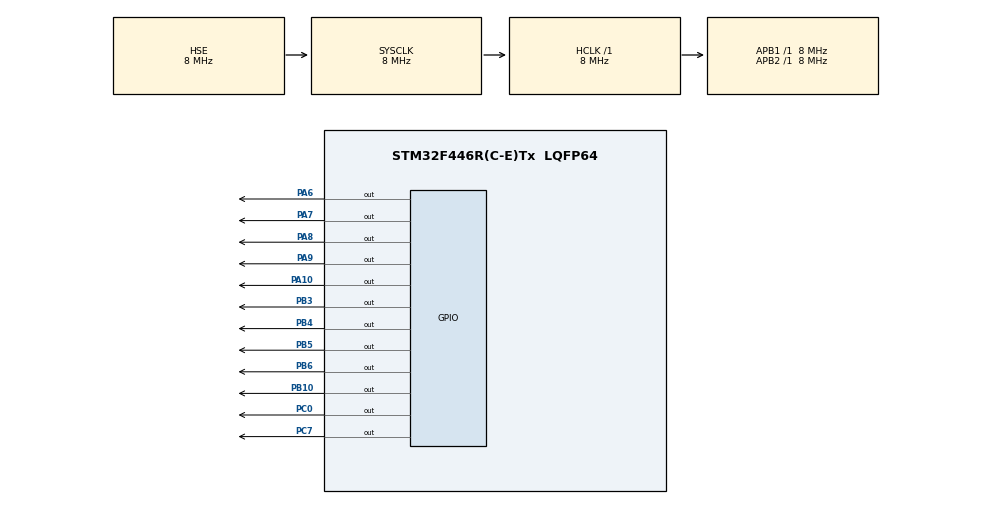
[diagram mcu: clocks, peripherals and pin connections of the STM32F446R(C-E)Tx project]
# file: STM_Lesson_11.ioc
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Mcu.Family=STM32F4
Mcu.Name=STM32F446R(C-E)Tx
Mcu.Package=LQFP64
NVIC.PriorityGroup=NVIC_PRIORITYGROUP_4
NVIC.TIM6_DAC_IRQn=true\:0\:0\:false\:false\:true\:true\:true\:true
PA10.GPIO_PuPd=GPIO_NOPULL
PA10.Signal=GPIO_Output
PA6.GPIO_PuPd=GPIO_PULLUP
PA6.PinState=GPIO_PIN_SET
PA6.Signal=GPIO_Output
PA7.GPIO_PuPd=GPIO_PULLUP
PA7.PinState=GPIO_PIN_SET
PA7.Signal=GPIO_Output
PA8.GPIO_PuPd=GPIO_NOPULL
PA8.Signal=GPIO_Output
PA9.GPIO_PuPd=GPIO_NOPULL
PA9.Signal=GPIO_Output
PB10.GPIO_PuPd=GPIO_NOPULL
PB10.Signal=GPIO_Output
PB3.GPIO_PuPd=GPIO_NOPULL
PB3.Signal=GPIO_Output
PB4.GPIO_PuPd=GPIO_NOPULL
PB4.Signal=GPIO_Output
PB5.GPIO_PuPd=GPIO_NOPULL
PB5.Signal=GPIO_Output
PB6.GPIO_PuPd=GPIO_PULLUP
PB6.PinState=GPIO_PIN_SET
PB6.Signal=GPIO_Output
PC0.PinState=GPIO_PIN_RESET
PC0.Signal=GPIO_Output
PC7.GPIO_PuPd=GPIO_PULLUP
PC7.PinState=GPIO_PIN_SET
PC7.Signal=GPIO_Output
PH0-OSC_IN.Mode=HSE-External-Clock-Source
PH0-OSC_IN.Signal=RCC_OSC_IN
PH1-OSC_OUT.Mode=HSE-External-Clock-Source
PH1-OSC_OUT.Signal=RCC_OSC_OUT
ProjectManager.HeapSize=0x200
ProjectManager.StackSize=0x400
ProjectManager.TargetToolchain=STM32CubeIDE
RCC.AHBFreq_Value=8000000
RCC.APB1Freq_Value=8000000
RCC.APB1TimFreq_Value=8000000
RCC.APB2Freq_Value=8000000
RCC.APB2TimFreq_Value=8000000
RCC.CortexFreq_Value=8000000
RCC.HCLKFreq_Value=8000000
RCC.HSE_VALUE=8000000
RCC.SYSCLKFreq_VALUE=8000000
RCC.SYSCLKSource=RCC_SYSCLKSOURCE_HSE
RCC.USBFreq_Value=96000000
RCC.VCOOutputFreq_Value=192000000
TIM6.Period=30
TIM6.Prescaler=999
VP_TIM6_VS_ClockSourceINT.Mode=Enable_Timer
board=custom

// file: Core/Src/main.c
/* USER CODE BEGIN Header */
/**
  ******************************************************************************
  * @file           : main.c
  * @brief          : Main program body
  ******************************************************************************
  * @attention
  *
  * Copyright (c) 2024 STMicroelectronics.
  * All rights reserved.
  *
  * This software is licensed under terms that can be found in the LICENSE file
  * in the root directory of this software component.
  * If no LICENSE file comes with this software, it is provided AS-IS.
  *
  ******************************************************************************
  */
/* USER CODE END Header */
#include "main.h"

/* USER CODE BEGIN Includes */
#include "math.h"
/* USER CODE END Includes */

/* USER CODE BEGIN PD */
#define SEG_A_0 HAL_GPIO_WritePin(GPIOA, GPIO_PIN_10, 0)
#define SEG_A_1 HAL_GPIO_WritePin(GPIOA, GPIO_PIN_10, 1)
#define SEG_B_0 HAL_GPIO_WritePin(GPIOB, GPIO_PIN_3, 0)
#define SEG_B_1 HAL_GPIO_WritePin(GPIOB, GPIO_PIN_3, 1)
#define SEG_C_0 HAL_GPIO_WritePin(GPIOB, GPIO_PIN_5, 0)
#define SEG_C_1 HAL_GPIO_WritePin(GPIOB, GPIO_PIN_5, 1)
#define SEG_D_0 HAL_GPIO_WritePin(GPIOB, GPIO_PIN_4, 0)
#define SEG_D_1 HAL_GPIO_WritePin(GPIOB, GPIO_PIN_4, 1)
#define SEG_E_0 HAL_GPIO_WritePin(GPIOB, GPIO_PIN_10, 0)
#define SEG_E_1 HAL_GPIO_WritePin(GPIOB, GPIO_PIN_10, 1)
#define SEG_F_0 HAL_GPIO_WritePin(GPIOA, GPIO_PIN_8, 0)
#define SEG_F_1 HAL_GPIO_WritePin(GPIOA, GPIO_PIN_8, 1)
#define SEG_G_0 HAL_GPIO_WritePin(GPIOA, GPIO_PIN_9, 0)
#define SEG_G_1 HAL_GPIO_WritePin(GPIOA, GPIO_PIN_9, 1)

#define RAZR_1_OFF  HAL_GPIO_WritePin(GPIOC, GPIO_PIN_7, 1)
#define RAZR_1_ON   HAL_GPIO_WritePin(GPIOC, GPIO_PIN_7, 0)
#define RAZR_2_OFF  HAL_GPIO_WritePin(GPIOB, GPIO_PIN_6, 1)
#define RAZR_2_ON   HAL_GPIO_WritePin(GPIOB, GPIO_PIN_6, 0)
#define RAZR_3_OFF  HAL_GPIO_WritePin(GPIOA, GPIO_PIN_7, 1)
#define RAZR_3_ON   HAL_GPIO_WritePin(GPIOA, GPIO_PIN_7, 0)
#define RAZR_4_OFF  HAL_GPIO_WritePin(GPIOA, GPIO_PIN_6, 1)
#define RAZR_4_ON   HAL_GPIO_WritePin(GPIOA, GPIO_PIN_6, 0)

#define TIME_DELAY 1000

volatile uint8_t count = 0;
int num_4, num_3, num_2, num_1 = 0;
float numberToShow = 0;

/* USER CODE END PD */

TIM_HandleTypeDef htim6;

void SystemClock_Config(void);
static void MX_GPIO_Init(void);
static void MX_TIM6_Init(void);
/* USER CODE BEGIN PFP */
void showNumber(int num);
void showFullNumber(int num);
void showFloatNumber(float num);

void HAL_TIM_PeriodElapsedCallback(TIM_HandleTypeDef * htim)
{

	if (++count > 4) count = 1;

	if(count == 4)
	{
		showNumber(num_4);
		RAZR_1_OFF;
		RAZR_2_OFF;
		RAZR_3_OFF;
		RAZR_4_ON;

	}

	if(count == 3)
	{
		showNumber(num_3);
		RAZR_1_OFF;
		RAZR_2_OFF;
		RAZR_3_ON;
		RAZR_4_OFF;
	}
	if(count == 2)
	{
		showNumber(num_2);
		RAZR_1_OFF;
		RAZR_2_ON;
		RAZR_3_OFF;
		RAZR_4_OFF;
	}
	if(count == 1)
	{
		showNumber(num_1);
		RAZR_1_ON;
		RAZR_2_OFF;
		RAZR_3_OFF;
		RAZR_4_OFF;
	}
//		HAL_GPIO_TogglePin(GPIOC, GPIO_PIN_0);

}
/* USER CODE END PFP */

int main(void)
{

  /* MCU Configuration--------------------------------------------------------*/

  /* Reset of all peripherals, Initializes the Flash interface and the Systick. */
  HAL_Init();

  /* Configure the system clock */
  SystemClock_Config();

  /* Initialize all configured peripherals */
  MX_GPIO_Init();
  MX_TIM6_Init();
  /* USER CODE BEGIN 2 */
 HAL_TIM_Base_Start_IT(&htim6);
//  showNumber(1);

//  RAZR_3_ON;
  /* USER CODE END 2 */

  /* Infinite loop */
  /* USER CODE BEGIN WHILE */
  while (1)
  {
	  numberToShow = -0.899;
	  showFloatNumber(numberToShow);

    /* USER CODE END WHILE */

  }
}

void SystemClock_Config(void)
{
  RCC_OscInitTypeDef RCC_OscInitStruct = {0};
  RCC_ClkInitTypeDef RCC_ClkInitStruct = {0};

  /** Configure the main internal regulator output voltage
  */
  __HAL_RCC_PWR_CLK_ENABLE();
  __HAL_PWR_VOLTAGESCALING_CONFIG(PWR_REGULATOR_VOLTAGE_SCALE3);

  /** Initializes the RCC Oscillators according to the specified parameters
  * in the RCC_OscInitTypeDef structure.
  */
  RCC_OscInitStruct.OscillatorType = RCC_OSCILLATORTYPE_HSE;
  RCC_OscInitStruct.HSEState = RCC_HSE_BYPASS;
  RCC_OscInitStruct.PLL.PLLState = RCC_PLL_NONE;
  if (HAL_RCC_OscConfig(&RCC_OscInitStruct) != HAL_OK)
  {
    Error_Handler();
  }

  /** Initializes the CPU, AHB and APB buses clocks
  */
  RCC_ClkInitStruct.ClockType = RCC_CLOCKTYPE_HCLK|RCC_CLOCKTYPE_SYSCLK
                              |RCC_CLOCKTYPE_PCLK1|RCC_CLOCKTYPE_PCLK2;
  RCC_ClkInitStruct.SYSCLKSource = RCC_SYSCLKSOURCE_HSE;
  RCC_ClkInitStruct.AHBCLKDivider = RCC_SYSCLK_DIV1;
  RCC_ClkInitStruct.APB1CLKDivider = RCC_HCLK_DIV1;
  RCC_ClkInitStruct.APB2CLKDivider = RCC_HCLK_DIV1;

  if (HAL_RCC_ClockConfig(&RCC_ClkInitStruct, FLASH_LATENCY_0) != HAL_OK)
  {
    Error_Handler();
  }
}

static void MX_TIM6_Init(void)
{

  TIM_MasterConfigTypeDef sMasterConfig = {0};

  htim6.Instance = TIM6;
  htim6.Init.Prescaler = 999;
  htim6.Init.CounterMode = TIM_COUNTERMODE_UP;
  htim6.Init.Period = 30;
  htim6.Init.AutoReloadPreload = TIM_AUTORELOAD_PRELOAD_DISABLE;
  if (HAL_TIM_Base_Init(&htim6) != HAL_OK)
  {
    Error_Handler();
  }
  sMasterConfig.MasterOutputTrigger = TIM_TRGO_RESET;
  sMasterConfig.MasterSlaveMode = TIM_MASTERSLAVEMODE_DISABLE;
  if (HAL_TIMEx_MasterConfigSynchronization(&htim6, &sMasterConfig) != HAL_OK)
  {
    Error_Handler();
  }

}

static void MX_GPIO_Init(void)
{
  GPIO_InitTypeDef GPIO_InitStruct = {0};

  /* GPIO Ports Clock Enable */
  __HAL_RCC_GPIOH_CLK_ENABLE();
  __HAL_RCC_GPIOC_CLK_ENABLE();
  __HAL_RCC_GPIOA_CLK_ENABLE();
  __HAL_RCC_GPIOB_CLK_ENABLE();

  /*Configure GPIO pin Output Level */
  HAL_GPIO_WritePin(GPIOC, GPIO_PIN_0, GPIO_PIN_RESET);

  /*Configure GPIO pin Output Level */
  HAL_GPIO_WritePin(GPIOA, GPIO_PIN_6|GPIO_PIN_7, GPIO_PIN_SET);

  /*Configure GPIO pin Output Level */
  HAL_GPIO_WritePin(GPIOB, GPIO_PIN_10|GPIO_PIN_3|GPIO_PIN_4|GPIO_PIN_5, GPIO_PIN_RESET);

  /*Configure GPIO pin Output Level */
  HAL_GPIO_WritePin(GPIOC, GPIO_PIN_7, GPIO_PIN_SET);

  /*Configure GPIO pin Output Level */
  HAL_GPIO_WritePin(GPIOA, GPIO_PIN_8|GPIO_PIN_9|GPIO_PIN_10, GPIO_PIN_RESET);

  /*Configure GPIO pin Output Level */
  HAL_GPIO_WritePin(GPIOB, GPIO_PIN_6, GPIO_PIN_SET);

  /*Configure GPIO pin : PC0 */
  GPIO_InitStruct.Pin = GPIO_PIN_0;
  GPIO_InitStruct.Mode = GPIO_MODE_OUTPUT_PP;
  GPIO_InitStruct.Pull = GPIO_NOPULL;
  GPIO_InitStruct.Speed = GPIO_SPEED_FREQ_LOW;
  HAL_GPIO_Init(GPIOC, &GPIO_InitStruct);

  /*Configure GPIO pins : PA6 PA7 */
  GPIO_InitStruct.Pin = GPIO_PIN_6|GPIO_PIN_7;
  GPIO_InitStruct.Mode = GPIO_MODE_OUTPUT_PP;
  GPIO_InitStruct.Pull = GPIO_PULLUP;
  GPIO_InitStruct.Speed = GPIO_SPEED_FREQ_LOW;
  HAL_GPIO_Init(GPIOA, &GPIO_InitStruct);

  /*Configure GPIO pins : PB10 PB3 PB4 PB5 */
  GPIO_InitStruct.Pin = GPIO_PIN_10|GPIO_PIN_3|GPIO_PIN_4|GPIO_PIN_5;
  GPIO_InitStruct.Mode = GPIO_MODE_OUTPUT_PP;
  GPIO_InitStruct.Pull = GPIO_NOPULL;
  GPIO_InitStruct.Speed = GPIO_SPEED_FREQ_LOW;
  HAL_GPIO_Init(GPIOB, &GPIO_InitStruct);

  /*Configure GPIO pin : PC7 */
  GPIO_InitStruct.Pin = GPIO_PIN_7;
  GPIO_InitStruct.Mode = GPIO_MODE_OUTPUT_PP;
  GPIO_InitStruct.Pull = GPIO_PULLUP;
  GPIO_InitStruct.Speed = GPIO_SPEED_FREQ_LOW;
  HAL_GPIO_Init(GPIOC, &GPIO_InitStruct);

  /*Configure GPIO pins : PA8 PA9 PA10 */
  GPIO_InitStruct.Pin = GPIO_PIN_8|GPIO_PIN_9|GPIO_PIN_10;
  GPIO_InitStruct.Mode = GPIO_MODE_OUTPUT_PP;
  GPIO_InitStruct.Pull = GPIO_NOPULL;
  GPIO_InitStruct.Speed = GPIO_SPEED_FREQ_LOW;
  HAL_GPIO_Init(GPIOA, &GPIO_InitStruct);

  /*Configure GPIO pin : PB6 */
  GPIO_InitStruct.Pin = GPIO_PIN_6;
  GPIO_InitStruct.Mode = GPIO_MODE_OUTPUT_PP;
  GPIO_InitStruct.Pull = GPIO_PULLUP;
  GPIO_InitStruct.Speed = GPIO_SPEED_FREQ_LOW;
  HAL_GPIO_Init(GPIOB, &GPIO_InitStruct);

}

/* USER CODE BEGIN 4 */
void showNumber(int num)
{
	switch (num) {
	case -1: SEG_A_0; SEG_B_0; SEG_C_0; SEG_D_0; SEG_E_0; SEG_F_0; SEG_G_1; break;
	case 0: SEG_A_1; SEG_B_1; SEG_C_1; SEG_D_1; SEG_E_1; SEG_F_1; SEG_G_0; break;
	case 1:	SEG_A_0; SEG_B_1; SEG_C_1; SEG_D_0; SEG_E_0; SEG_F_0; SEG_G_0; break;
	case 2:	SEG_A_1; SEG_B_1; SEG_C_0; SEG_D_1;	SEG_E_1; SEG_F_0; SEG_G_1; break;
	case 3:	SEG_A_1; SEG_B_1; SEG_C_1; SEG_D_1;	SEG_E_0; SEG_F_0; SEG_G_1; break;
	case 4:	SEG_A_0; SEG_B_1; SEG_C_1; SEG_D_0; SEG_E_0; SEG_F_1; SEG_G_1; break;
	case 5:	SEG_A_1; SEG_B_0; SEG_C_1; SEG_D_1; SEG_E_0; SEG_F_1; SEG_G_1; break;
	case 6: SEG_A_1; SEG_B_0; SEG_C_1; SEG_D_1; SEG_E_1; SEG_F_1; SEG_G_1; break;
	case 7: SEG_A_1; SEG_B_1; SEG_C_1; SEG_D_0; SEG_E_0; SEG_F_0; SEG_G_0; break;
	case 8: SEG_A_1; SEG_B_1; SEG_C_1; SEG_D_1; SEG_E_1; SEG_F_1; SEG_G_1; break;
	case 9: SEG_A_1; SEG_B_1; SEG_C_1; SEG_D_1; SEG_E_0; SEG_F_1; SEG_G_1; break;
	default: SEG_A_1; SEG_B_0; SEG_C_0; SEG_D_1; SEG_E_1; SEG_F_1; SEG_G_1;
	}

}

void showFullNumber(int num)
{
/*
 * Function split integer number to 4 digits
 */
	num_4 = num / 1000;
	num_3 = num % 1000 / 100;
	num_2 = num % 100 /10;
	num_1 = num % 10;

}

void showFloatNumber(float num)
{
/*
 * Function split float number to 4 digits
 */

	int sign = 0;
	// TODO Add DOT to show correct number. Current display is not support dots.

	if (num < 0)
	{
		num *= -1;
		sign = 1;
//		num = num / 100;
	}

	if (num >= 1000)
	{
		num *= 1;
	}
	else if (num >= 100 && num < 1000)
	{
		num *= 10;
	}
	else if (num >= 10 && num < 100)
	{
		num *= 100;
	}
	else if (num >= 0 && num < 10)
	{
		num *= 1000;
	}

	int num_int = lrint(num);  // Function to math round value

	if (sign == 0)
	{
		num_4 = num_int / 1000;
		num_3 = num_int % 1000 / 100;
		num_2 = num_int % 100 /10;
		num_1 = num_int % 10;
	}
	else
	{
		num_4 = -1;
		num_3 = num_int / 1000;
		num_2 = num_int % 1000 / 100;
		num_1 = num_int % 100 /10;
	}

}

/* USER CODE END 4 */

void Error_Handler(void)
{
  __disable_irq();
  while (1)
  {
  }
}
